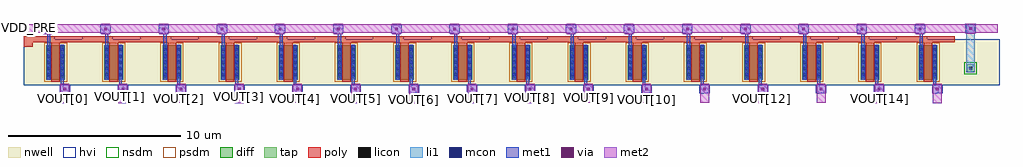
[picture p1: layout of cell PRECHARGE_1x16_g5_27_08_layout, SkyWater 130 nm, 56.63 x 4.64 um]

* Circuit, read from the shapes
.subckt PRECHARGE_1x16_g5_27_08_layout PRE VDD_PRE VOUT[0] VOUT[10] VOUT[11] VOUT[12] VOUT[13] VOUT[14] VOUT[15] VOUT[1] VOUT[2] VOUT[3] VOUT[4] VOUT[5] VOUT[6] VOUT[7] VOUT[8] VOUT[9]
XM1 VOUT[0] PRE VDD_PRE VDD_PRE sky130_fd_pr__pfet_g5v0d10v5 w=2 l=0.5
XM2 VOUT[1] PRE VDD_PRE VDD_PRE sky130_fd_pr__pfet_g5v0d10v5 w=2 l=0.5
XM3 VOUT[2] PRE VDD_PRE VDD_PRE sky130_fd_pr__pfet_g5v0d10v5 w=2 l=0.5
XM4 VOUT[3] PRE VDD_PRE VDD_PRE sky130_fd_pr__pfet_g5v0d10v5 w=2 l=0.5
XM5 VOUT[4] PRE VDD_PRE VDD_PRE sky130_fd_pr__pfet_g5v0d10v5 w=2 l=0.5
XM6 VOUT[5] PRE VDD_PRE VDD_PRE sky130_fd_pr__pfet_g5v0d10v5 w=2 l=0.5
XM7 VOUT[6] PRE VDD_PRE VDD_PRE sky130_fd_pr__pfet_g5v0d10v5 w=2 l=0.5
XM8 VOUT[7] PRE VDD_PRE VDD_PRE sky130_fd_pr__pfet_g5v0d10v5 w=2 l=0.5
XM9 VOUT[8] PRE VDD_PRE VDD_PRE sky130_fd_pr__pfet_g5v0d10v5 w=2 l=0.5
XM10 VOUT[9] PRE VDD_PRE VDD_PRE sky130_fd_pr__pfet_g5v0d10v5 w=2 l=0.5
XM11 VOUT[10] PRE VDD_PRE VDD_PRE sky130_fd_pr__pfet_g5v0d10v5 w=2 l=0.5
XM12 VOUT[11] PRE VDD_PRE VDD_PRE sky130_fd_pr__pfet_g5v0d10v5 w=2 l=0.5
XM13 VOUT[12] PRE VDD_PRE VDD_PRE sky130_fd_pr__pfet_g5v0d10v5 w=2 l=0.5
XM14 VOUT[13] PRE VDD_PRE VDD_PRE sky130_fd_pr__pfet_g5v0d10v5 w=2 l=0.5
XM15 VOUT[14] PRE VDD_PRE VDD_PRE sky130_fd_pr__pfet_g5v0d10v5 w=2 l=0.5
XM16 VOUT[15] PRE VDD_PRE VDD_PRE sky130_fd_pr__pfet_g5v0d10v5 w=2 l=0.5
.ends

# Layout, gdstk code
import gdstk
lib = gdstk.Library(unit=1e-6, precision=1e-09)
def R(c, l, rs):  # rectangles x0, y0, x1, y1
    for r in rs: c.add(gdstk.rectangle(r[:2], r[2:], *l))
def A(c, l, x, y, w, h, nx, ny, dx, dy):  # array of equal rectangles
    R(c, l, [(x+i*dx, y+j*dy, x+i*dx+w, y+j*dy+h) for i in range(nx) for j in range(ny)])
nwell = (64, 20)
diff = (65, 20)
tap = (65, 44)
poly = (66, 20)
licon = (66, 44)
li1 = (67, 20)
mcon = (67, 44)
met1 = (68, 20)
via = (68, 44)
met2 = (69, 20)
hvi = (75, 20)
nsdm = (93, 44)
psdm = (94, 20)

sky130_fd_pr__pfet_g5v0d = lib.new_cell('sky130_fd_pr__pfet_g5v0d10v5_HDNT3Z')
R(sky130_fd_pr__pfet_g5v0d, nwell, [(-0.72,-1.31,0.72,1.31)])
R(sky130_fd_pr__pfet_g5v0d, diff, [(-0.54,-1,0.54,1)])
R(sky130_fd_pr__pfet_g5v0d, poly, [(-0.25,-1.13,0.25,1.13)])
A(sky130_fd_pr__pfet_g5v0d, licon, -0.48, -0.935, 0.17, 0.17, 1, 6, 0, 0.34)
A(sky130_fd_pr__pfet_g5v0d, licon, 0.31, -0.935, 0.17, 0.17, 1, 6, 0, 0.34)
R(sky130_fd_pr__pfet_g5v0d, li1, [(-0.48,-1.02,-0.31,1.02), (0.31,-1.02,0.48,1.02)])
A(sky130_fd_pr__pfet_g5v0d, mcon, -0.48, -0.805, 0.17, 0.17, 1, 5, 0, 0.36)
A(sky130_fd_pr__pfet_g5v0d, mcon, 0.31, -0.805, 0.17, 0.17, 1, 5, 0, 0.36)
R(sky130_fd_pr__pfet_g5v0d, met1, [(-0.51,-1,-0.28,1), (0.28,-1,0.51,1)])
R(sky130_fd_pr__pfet_g5v0d, hvi, [(-0.72,-1.31,0.72,-1.185), (-0.725,-1.185,0.725,1.185), (-0.72,1.185,0.72,1.31)])
R(sky130_fd_pr__pfet_g5v0d, psdm, [(-0.665,-1.125,0.665,1.125)])

precharge_g5v_20_08_layo = lib.new_cell('PRECHARGE_g5V_20_08_layout')
R(precharge_g5v_20_08_layo, nwell, [(-1.12,-0.02,2.25,2.64), (-1.12,2.64,0.67,2.81)])
R(precharge_g5v_20_08_layo, poly, [(0.47,2.37,0.97,2.46), (-1.12,2.46,2.255,2.81)])
R(precharge_g5v_20_08_layo, met1, [(1.03,-0.505,1.2,-0.5), (0.95,-0.5,1.56,0.01), (1.03,0.01,1.2,0.57), (0.23,1.92,0.41,3), (-0.05,3,0.55,3.5)])
R(precharge_g5v_20_08_layo, via, [(1.18,-0.32,1.33,-0.17), (0.175,3.175,0.325,3.325)])
R(precharge_g5v_20_08_layo, met2, [(1,-0.55,1.51,0.06), (0,2.95,0.5,3.55)])
R(precharge_g5v_20_08_layo, hvi, [(-1.12,-0.02,2.25,0), (-1.12,0,0,0.125), (1.44,0,2.25,0.125), (-1.12,0.125,-0.005,2.495), (1.445,0.125,2.25,2.495), (-1.12,2.495,0,2.62), (1.44,2.495,2.25,2.62), (-1.12,2.62,2.25,2.64), (-1.12,2.64,0.67,2.81)])
precharge_g5v_20_08_layo.add(gdstk.Reference(sky130_fd_pr__pfet_g5v0d, (0.72,1.31)))
precharge_g5v_20_08_layo.add(gdstk.Label('PRE', (-1.04,2.53), layer=66, texttype=16))
precharge_g5v_20_08_layo.add(gdstk.Label('VDD_PRE', (0.28,3.25), layer=69, texttype=16))
precharge_g5v_20_08_layo.add(gdstk.Label('SL', (1.23,-0.25), layer=69, texttype=16))

mv_5v_pmostap_substrate = lib.new_cell('MV_5V_pmosTap_substrate')
R(mv_5v_pmostap_substrate, tap, [(-0.35,0,0.12,0.44)])
R(mv_5v_pmostap_substrate, licon, [(-0.195,0.13,-0.025,0.3)])
R(mv_5v_pmostap_substrate, li1, [(-0.31,0.04,0.07,0.4)])
R(mv_5v_pmostap_substrate, hvi, [(-0.535,-0.2,0.305,0.64)])
R(mv_5v_pmostap_substrate, nsdm, [(-0.475,-0.125,0.245,0.565)])

precharge_1x16_g5_27_08_ = lib.new_cell('PRECHARGE_1x16_g5_27_08_layout')
R(precharge_1x16_g5_27_08_, nwell, [(0.71,0.53,8.85,0.56), (9.37,0.53,56.61,0.56), (0.71,0.56,56.61,3.19)])
R(precharge_1x16_g5_27_08_, poly, [(-0.02,2.76,0.51,3.36)])
R(precharge_1x16_g5_27_08_, li1, [(54.69,1.29,55.17,4.06)])
R(precharge_1x16_g5_27_08_, mcon, [(54.845,3.735,55.015,3.905)])
R(precharge_1x16_g5_27_08_, met1, [(54.63,3.55,55.23,4.09)])
R(precharge_1x16_g5_27_08_, via, [(54.855,3.745,55.005,3.895)])
A(precharge_1x16_g5_27_08_, met2, 22.37, -0.51, 0.52, 1.05, 3, 1, 3.38, 0)
R(precharge_1x16_g5_27_08_, met2, [(49.36,-0.53,49.88,0.52), (52.74,-0.53,53.26,0.52), (2.1,-0.52,2.62,0.53), (18.99,-0.52,19.51,0.53), (5.49,-0.51,6.01,0.54), (12.25,-0.51,12.77,0.54), (42.63,-0.51,43.15,0.54), (15.6,-0.5,16.12,0.55), (32.48,-0.5,33,0.55), (8.85,-0.49,9.37,0.56), (39.25,-0.49,39.77,0.56), (46,-0.49,46.52,0.56), (35.88,-0.48,36.4,0.57), (54.69,3.53,55.17,3.56), (0.01,3.56,56.5,4.06), (54.69,4.06,55.17,4.11)])
A(precharge_1x16_g5_27_08_, hvi, 3.37, 0.53, 0.005, 2.66, 15, 1, 3.375, 0)
R(precharge_1x16_g5_27_08_, hvi, [(53.995,0.53,56.61,1.1), (53.995,1.1,54.515,1.94), (55.355,1.1,56.61,1.94), (53.995,1.94,56.61,3.19)])
r = gdstk.Reference(precharge_g5v_20_08_layo, (1.12,0.55)); r.repetition = gdstk.Repetition(16, 1, v1=(3.375,0), v2=(0,4.1)); precharge_1x16_g5_27_08_.add(r)
precharge_1x16_g5_27_08_.add(gdstk.Reference(mv_5v_pmostap_substrate, (55.05,1.3)))
precharge_1x16_g5_27_08_.add(gdstk.Label('VDD_PRE', (0.35,3.85), layer=69, texttype=16))
precharge_1x16_g5_27_08_.add(gdstk.Label('PRE', (0.31,3.1), layer=66, texttype=16))
precharge_1x16_g5_27_08_.add(gdstk.Label('VOUT[0]', (2.29,-0.26), layer=69, texttype=16))
precharge_1x16_g5_27_08_.add(gdstk.Label('VOUT[1]', (5.63,-0.15), layer=69, texttype=16))
precharge_1x16_g5_27_08_.add(gdstk.Label('VOUT[2]', (9.04,-0.26), layer=69, texttype=16))
precharge_1x16_g5_27_08_.add(gdstk.Label('VOUT[3]', (12.53,-0.15), layer=69, texttype=16))
precharge_1x16_g5_27_08_.add(gdstk.Label('VOUT[4]', (15.78,-0.22), layer=69, texttype=16))
precharge_1x16_g5_27_08_.add(gdstk.Label('VOUT[5]', (19.28,-0.25), layer=69, texttype=16))
precharge_1x16_g5_27_08_.add(gdstk.Label('VOUT[6]', (22.69,-0.28), layer=69, texttype=16))
precharge_1x16_g5_27_08_.add(gdstk.Label('VOUT[7]', (26.11,-0.26), layer=69, texttype=16))
precharge_1x16_g5_27_08_.add(gdstk.Label('VOUT[8]', (29.41,-0.21), layer=69, texttype=16))
precharge_1x16_g5_27_08_.add(gdstk.Label('VOUT[9]', (32.82,-0.21), layer=69, texttype=16))
precharge_1x16_g5_27_08_.add(gdstk.Label('VOUT[10]', (36.16,-0.31), layer=69, texttype=16))
precharge_1x16_g5_27_08_.add(gdstk.Label('VOUT[11]', (39.59,-0.23), layer=69, texttype=16))
precharge_1x16_g5_27_08_.add(gdstk.Label('VOUT[12]', (42.85,-0.25), layer=69, texttype=16))
precharge_1x16_g5_27_08_.add(gdstk.Label('VOUT[13]', (46.25,-0.19), layer=69, texttype=16))
precharge_1x16_g5_27_08_.add(gdstk.Label('VOUT[14]', (49.72,-0.23), layer=69, texttype=16))
precharge_1x16_g5_27_08_.add(gdstk.Label('VOUT[15]', (53.03,-0.16), layer=69, texttype=16))

lib.write_gds('PRECHARGE_1x16_g5_27_08_layout.gds')
